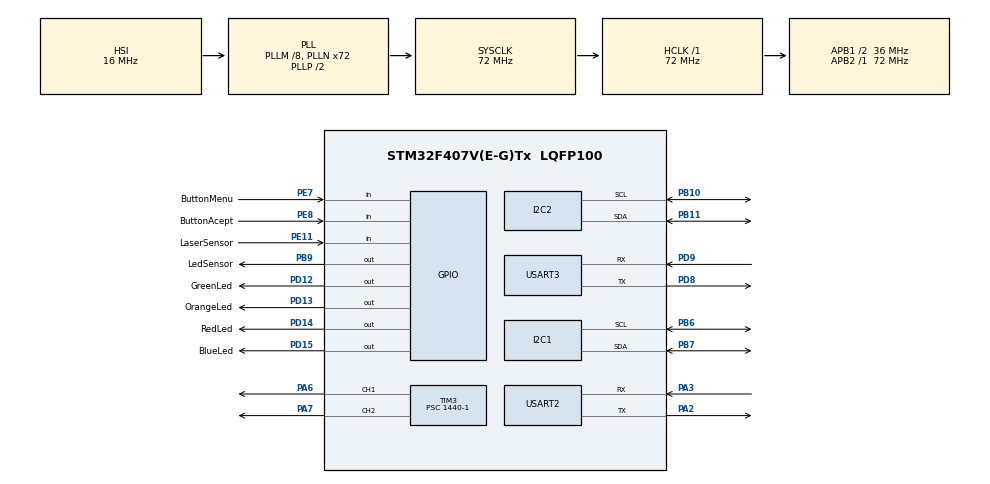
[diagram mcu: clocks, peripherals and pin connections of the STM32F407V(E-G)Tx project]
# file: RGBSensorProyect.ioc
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Mcu.Family=STM32F4
VP_TIM5_VS_ClockSourceINT.Mode=Internal
PD12.GPIO_Label=GreenLed
PE7.GPIO_PuPd=GPIO_PULLUP
Dma.USART3_RX.0.PeriphInc=DMA_PINC_DISABLE
RCC.CortexFreq_Value=72000000
PB10.Mode=I2C
PE11.GPIO_Label=LaserSensor
PE8.GPIO_PuPd=GPIO_PULLUP
PB11.Signal=I2C2_SDA
PD9.Mode=Asynchronous
RCC.SYSCLKSource=RCC_SYSCLKSOURCE_PLLCLK
ProjectManager.StackSize=0x400
PD13.Signal=GPIO_Output
PE11.GPIO_PuPd=GPIO_NOPULL
RCC.HCLKFreq_Value=72000000
RCC.APB2TimFreq_Value=72000000
TIM3.Period=1000-1
PB6.Signal=I2C1_SCL
PB6.Mode=I2C
PD8.Signal=USART3_TX
RCC.AHBFreq_Value=72000000
TIM3.Channel-PWM\ Generation1\ CH1=TIM_CHANNEL_1
RCC.HSE_VALUE=8000000
Dma.USART3_RX.0.MemDataAlignment=DMA_MDATAALIGN_BYTE
TIM3.Prescaler=1440-1
Dma.USART3_RX.0.PeriphDataAlignment=DMA_PDATAALIGN_BYTE
PB7.Signal=I2C1_SDA
Dma.USART3_RX.0.FIFOMode=DMA_FIFOMODE_DISABLE
SH.S_TIM3_CH1.0=TIM3_CH1,PWM Generation1 CH1
PD13.GPIO_Label=OrangeLed
Dma.USART3_RX.0.Direction=DMA_PERIPH_TO_MEMORY
PB9.Signal=GPIO_Output
Mcu.Package=LQFP100
PA6.Signal=S_TIM3_CH1
USART2.VirtualMode=VM_ASYNC
PD12.Signal=GPIO_Output
Dma.USART3_RX.0.MemInc=DMA_MINC_ENABLE
RCC.APB1TimFreq_Value=72000000
PE7.Signal=GPIO_Input
Dma.Request0=USART3_RX
I2C2.I2C_Mode=I2C_Standard
PD15.Signal=GPIO_Output
PA3.Signal=USART2_RX
Dma.USART3_RX.0.Instance=DMA1_Stream1
PD15.GPIO_Label=BlueLed
PB9.GPIO_Label=LedSensor
PD9.Signal=USART3_RX
NVIC.DMA1_Stream1_IRQn=true\:0\:0\:false\:false\:true\:false\:true
RCC.APB1CLKDivider=RCC_HCLK_DIV2
Dma.USART3_RX.0.Mode=DMA_NORMAL
PA3.Mode=Asynchronous
PB11.Mode=I2C
ProjectManager.TargetToolchain=MDK-ARM V5.27
I2C1.I2C_Mode=I2C_Fast
PE8.GPIO_Label=ButtonAcept
PE11.Signal=GPIO_Input
RCC.LSE_VALUE=32768
PD8.Mode=Asynchronous
PB10.Signal=I2C2_SCL
SH.S_TIM3_CH2.0=TIM3_CH2,PWM Generation2 CH2
board=STM32F407G-DISC1
RCC.VCOOutputFreq_Value=144000000
NVIC.TIM3_IRQn=true\:0\:0\:false\:false\:true\:true\:true
RCC.APB2Freq_Value=72000000
PE8.Signal=GPIO_Input
PD14.GPIO_Label=RedLed
Mcu.Name=STM32F407V(E-G)Tx
PE7.GPIO_Label=ButtonMenu
PA2.Signal=USART2_TX
PD14.Signal=GPIO_Output
RCC.48MHZClocksFreq_Value=20571428.57142857
RCC.SYSCLKFreq_VALUE=72000000
Dma.USART3_RX.0.Priority=DMA_PRIORITY_LOW
TIM5.Prescaler=72-1
USART3.VirtualMode=VM_ASYNC
PB9.PinState=GPIO_PIN_RESET
PB7.Mode=I2C
ProjectManager.HeapSize=0x200
RCC.HSI_VALUE=16000000
RCC.PLLQ=7
NVIC.PriorityGroup=NVIC_PRIORITYGROUP_0
TIM3.Channel-PWM\ Generation2\ CH2=TIM_CHANNEL_2
RCC.PLLM=8
RCC.PLLN=72
PA2.Mode=Asynchronous
TIM5.Period=0xFFFF-1
RCC.APB1Freq_Value=36000000
PA7.Signal=S_TIM3_CH2

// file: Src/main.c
/* USER CODE BEGIN Header */
/**
  ******************************************************************************
  * @file           : main.c
  * @brief          : Main program body
	* @author         : Sergio Bou Grau
  * @date           : 11/05/2020
  ******************************************************************************
  * @attention
  *
  * <h2><center>&copy; Copyright (c) 2020 STMicroelectronics.
  * All rights reserved.</center></h2>
  *
  * This software component is licensed by ST under BSD 3-Clause license,
  * the "License"; You may not use this file except in compliance with the
  * License. You may obtain a copy of the License at:
  *                        opensource.org/licenses/BSD-3-Clause
  *
  ******************************************************************************
  */
/* USER CODE END Header */

#include "main.h"

/* USER CODE BEGIN Includes */
/*
 Periferics used and aplication:
	- TIM3_CH1 -> for servo of colour sensor
	- TIM3_CH2 -> for servo of ramp
  - USART2   -> for FTDI232
  - USART3	 -> for ESP8266
	- TIM3     -> for servo of sensor (PWM CH1)
	           -> for servo of ramp   (PWM CH2)
	- TIM5     -> for timers
  - I2C1     -> for oled 128x64
  - I2C2     -> for TCS34725
*/

#include <string.h>
#include <stdio.h>
#include "tcs34725.h"
#include "sendwifi.h"

/* USER CODE END Includes */

I2C_HandleTypeDef hi2c1;
I2C_HandleTypeDef hi2c2;

TIM_HandleTypeDef htim3;
TIM_HandleTypeDef htim5;

UART_HandleTypeDef huart2;
UART_HandleTypeDef huart3;
DMA_HandleTypeDef hdma_usart3_rx;

/* USER CODE BEGIN PV */
extern uint32_t ColorsThreshold[];
extern uint8_t rxData[LONGDATA];		//For wifi conection
/* USER CODE END PV */

void SystemClock_Config(void);
static void MX_GPIO_Init(void);
static void MX_DMA_Init(void);
static void MX_TIM3_Init(void);
static void MX_I2C1_Init(void);
static void MX_TIM5_Init(void);
static void MX_I2C2_Init(void);
static void MX_USART2_UART_Init(void);
static void MX_USART3_UART_Init(void);

int main(void)
{

  /* MCU Configuration--------------------------------------------------------*/

  /* Reset of all peripherals, Initializes the Flash interface and the Systick. */
  HAL_Init();

  /* Configure the system clock */
  SystemClock_Config();

  /* Initialize all configured peripherals */
  MX_GPIO_Init();
  MX_DMA_Init();
  MX_TIM3_Init();
  MX_I2C1_Init();
  MX_TIM5_Init();
  MX_I2C2_Init();
  MX_USART2_UART_Init();
  MX_USART3_UART_Init();
  /* USER CODE BEGIN 2 */

	HAL_TIM_PWM_Start(&htim3, TIM_CHANNEL_1);	  //Start the PWM for servo of sensor
	HAL_TIM_PWM_Start(&htim3, TIM_CHANNEL_2);   //Start the PWM for servo of ramp

	Init_cts34725();		                        // Config sensor color CTS34725

	PositionServoSensor(POSUNO);	              // Put servo of sensor at init
	PositionServoRamp(SRINICIO);                // Put servo of ramp at init

	MY_FLASH_SetSectorAddrs(11, 0x080E0000);		//Define sector of memory flash
	MY_FLASH_ReadN(0, ColorsThreshold, 4, DATA_TYPE_32); //Read memory flash

	SSD1306_Init ();                            // initialize the diaplay oled
	TestLines(SSD1306_COLOR_WHITE);
	SSD1306_Clear();
	SSD1306_GotoXY (5, 5);
	SSD1306_Puts ("PUSH BUTTON", &Font_11x18, 1);
	SSD1306_GotoXY (40, 25);
	SSD1306_Puts ("MENU", &Font_11x18, 1);
	SSD1306_GotoXY (15, 44);
	SSD1306_Puts ("FOR START", &Font_11x18, 1);
	SSD1306_UpdateScreen();

	HAL_UART_Receive_DMA(&huart3, (uint8_t *)rxData, LONGDATA);	//For wifi conection
	InitESP();

	resetvar();                                 //Reset variables

  /* USER CODE END 2 */

  /* Infinite loop */
  while (1)
  {

    /* USER CODE BEGIN 3 */
		ButtonAceptPressed();
		ButtonMenuPressed();
  }
  /* USER CODE END 3 */
}

void SystemClock_Config(void)
{
  RCC_OscInitTypeDef RCC_OscInitStruct = {0};
  RCC_ClkInitTypeDef RCC_ClkInitStruct = {0};

  /** Configure the main internal regulator output voltage
  */
  __HAL_RCC_PWR_CLK_ENABLE();
  __HAL_PWR_VOLTAGESCALING_CONFIG(PWR_REGULATOR_VOLTAGE_SCALE1);
  /** Initializes the CPU, AHB and APB busses clocks
  */
  RCC_OscInitStruct.OscillatorType = RCC_OSCILLATORTYPE_HSI;
  RCC_OscInitStruct.HSIState = RCC_HSI_ON;
  RCC_OscInitStruct.HSICalibrationValue = RCC_HSICALIBRATION_DEFAULT;
  RCC_OscInitStruct.PLL.PLLState = RCC_PLL_ON;
  RCC_OscInitStruct.PLL.PLLSource = RCC_PLLSOURCE_HSI;
  RCC_OscInitStruct.PLL.PLLM = 8;
  RCC_OscInitStruct.PLL.PLLN = 72;
  RCC_OscInitStruct.PLL.PLLP = RCC_PLLP_DIV2;
  RCC_OscInitStruct.PLL.PLLQ = 7;
  if (HAL_RCC_OscConfig(&RCC_OscInitStruct) != HAL_OK)
  {
    Error_Handler();
  }
  /** Initializes the CPU, AHB and APB busses clocks
  */
  RCC_ClkInitStruct.ClockType = RCC_CLOCKTYPE_HCLK|RCC_CLOCKTYPE_SYSCLK
                              |RCC_CLOCKTYPE_PCLK1|RCC_CLOCKTYPE_PCLK2;
  RCC_ClkInitStruct.SYSCLKSource = RCC_SYSCLKSOURCE_PLLCLK;
  RCC_ClkInitStruct.AHBCLKDivider = RCC_SYSCLK_DIV1;
  RCC_ClkInitStruct.APB1CLKDivider = RCC_HCLK_DIV2;
  RCC_ClkInitStruct.APB2CLKDivider = RCC_HCLK_DIV1;

  if (HAL_RCC_ClockConfig(&RCC_ClkInitStruct, FLASH_LATENCY_2) != HAL_OK)
  {
    Error_Handler();
  }
}

static void MX_I2C1_Init(void)
{

  hi2c1.Instance = I2C1;
  hi2c1.Init.ClockSpeed = 400000;
  hi2c1.Init.DutyCycle = I2C_DUTYCYCLE_2;
  hi2c1.Init.OwnAddress1 = 0;
  hi2c1.Init.AddressingMode = I2C_ADDRESSINGMODE_7BIT;
  hi2c1.Init.DualAddressMode = I2C_DUALADDRESS_DISABLE;
  hi2c1.Init.OwnAddress2 = 0;
  hi2c1.Init.GeneralCallMode = I2C_GENERALCALL_DISABLE;
  hi2c1.Init.NoStretchMode = I2C_NOSTRETCH_DISABLE;
  if (HAL_I2C_Init(&hi2c1) != HAL_OK)
  {
    Error_Handler();
  }

}

static void MX_I2C2_Init(void)
{

  hi2c2.Instance = I2C2;
  hi2c2.Init.ClockSpeed = 100000;
  hi2c2.Init.DutyCycle = I2C_DUTYCYCLE_2;
  hi2c2.Init.OwnAddress1 = 0;
  hi2c2.Init.AddressingMode = I2C_ADDRESSINGMODE_7BIT;
  hi2c2.Init.DualAddressMode = I2C_DUALADDRESS_DISABLE;
  hi2c2.Init.OwnAddress2 = 0;
  hi2c2.Init.GeneralCallMode = I2C_GENERALCALL_DISABLE;
  hi2c2.Init.NoStretchMode = I2C_NOSTRETCH_DISABLE;
  if (HAL_I2C_Init(&hi2c2) != HAL_OK)
  {
    Error_Handler();
  }

}

static void MX_TIM3_Init(void)
{

  TIM_MasterConfigTypeDef sMasterConfig = {0};
  TIM_OC_InitTypeDef sConfigOC = {0};

  htim3.Instance = TIM3;
  htim3.Init.Prescaler = 1440-1;
  htim3.Init.CounterMode = TIM_COUNTERMODE_UP;
  htim3.Init.Period = 1000-1;
  htim3.Init.ClockDivision = TIM_CLOCKDIVISION_DIV1;
  htim3.Init.AutoReloadPreload = TIM_AUTORELOAD_PRELOAD_DISABLE;
  if (HAL_TIM_PWM_Init(&htim3) != HAL_OK)
  {
    Error_Handler();
  }
  sMasterConfig.MasterOutputTrigger = TIM_TRGO_RESET;
  sMasterConfig.MasterSlaveMode = TIM_MASTERSLAVEMODE_DISABLE;
  if (HAL_TIMEx_MasterConfigSynchronization(&htim3, &sMasterConfig) != HAL_OK)
  {
    Error_Handler();
  }
  sConfigOC.OCMode = TIM_OCMODE_PWM1;
  sConfigOC.Pulse = 0;
  sConfigOC.OCPolarity = TIM_OCPOLARITY_HIGH;
  sConfigOC.OCFastMode = TIM_OCFAST_DISABLE;
  if (HAL_TIM_PWM_ConfigChannel(&htim3, &sConfigOC, TIM_CHANNEL_1) != HAL_OK)
  {
    Error_Handler();
  }
  if (HAL_TIM_PWM_ConfigChannel(&htim3, &sConfigOC, TIM_CHANNEL_2) != HAL_OK)
  {
    Error_Handler();
  }
  HAL_TIM_MspPostInit(&htim3);

}

static void MX_TIM5_Init(void)
{

  TIM_ClockConfigTypeDef sClockSourceConfig = {0};
  TIM_MasterConfigTypeDef sMasterConfig = {0};

  htim5.Instance = TIM5;
  htim5.Init.Prescaler = 72-1;
  htim5.Init.CounterMode = TIM_COUNTERMODE_UP;
  htim5.Init.Period = 0xFFFF-1;
  htim5.Init.ClockDivision = TIM_CLOCKDIVISION_DIV1;
  htim5.Init.AutoReloadPreload = TIM_AUTORELOAD_PRELOAD_DISABLE;
  if (HAL_TIM_Base_Init(&htim5) != HAL_OK)
  {
    Error_Handler();
  }
  sClockSourceConfig.ClockSource = TIM_CLOCKSOURCE_INTERNAL;
  if (HAL_TIM_ConfigClockSource(&htim5, &sClockSourceConfig) != HAL_OK)
  {
    Error_Handler();
  }
  sMasterConfig.MasterOutputTrigger = TIM_TRGO_RESET;
  sMasterConfig.MasterSlaveMode = TIM_MASTERSLAVEMODE_DISABLE;
  if (HAL_TIMEx_MasterConfigSynchronization(&htim5, &sMasterConfig) != HAL_OK)
  {
    Error_Handler();
  }

}

static void MX_USART2_UART_Init(void)
{

  huart2.Instance = USART2;
  huart2.Init.BaudRate = 115200;
  huart2.Init.WordLength = UART_WORDLENGTH_8B;
  huart2.Init.StopBits = UART_STOPBITS_1;
  huart2.Init.Parity = UART_PARITY_NONE;
  huart2.Init.Mode = UART_MODE_TX_RX;
  huart2.Init.HwFlowCtl = UART_HWCONTROL_NONE;
  huart2.Init.OverSampling = UART_OVERSAMPLING_16;
  if (HAL_UART_Init(&huart2) != HAL_OK)
  {
    Error_Handler();
  }

}

static void MX_USART3_UART_Init(void)
{

  huart3.Instance = USART3;
  huart3.Init.BaudRate = 115200;
  huart3.Init.WordLength = UART_WORDLENGTH_8B;
  huart3.Init.StopBits = UART_STOPBITS_1;
  huart3.Init.Parity = UART_PARITY_NONE;
  huart3.Init.Mode = UART_MODE_TX_RX;
  huart3.Init.HwFlowCtl = UART_HWCONTROL_NONE;
  huart3.Init.OverSampling = UART_OVERSAMPLING_16;
  if (HAL_UART_Init(&huart3) != HAL_OK)
  {
    Error_Handler();
  }

}

static void MX_DMA_Init(void)
{

  /* DMA controller clock enable */
  __HAL_RCC_DMA1_CLK_ENABLE();

  /* DMA interrupt init */
  /* DMA1_Stream1_IRQn interrupt configuration */
  HAL_NVIC_SetPriority(DMA1_Stream1_IRQn, 0, 0);
  HAL_NVIC_EnableIRQ(DMA1_Stream1_IRQn);

}

static void MX_GPIO_Init(void)
{
  GPIO_InitTypeDef GPIO_InitStruct = {0};

  /* GPIO Ports Clock Enable */
  __HAL_RCC_GPIOA_CLK_ENABLE();
  __HAL_RCC_GPIOE_CLK_ENABLE();
  __HAL_RCC_GPIOB_CLK_ENABLE();
  __HAL_RCC_GPIOD_CLK_ENABLE();

  /*Configure GPIO pin Output Level */
  HAL_GPIO_WritePin(GPIOD, GreenLed_Pin|OrangeLed_Pin|RedLed_Pin|BlueLed_Pin, GPIO_PIN_RESET);

  /*Configure GPIO pin Output Level */
  HAL_GPIO_WritePin(LedSensor_GPIO_Port, LedSensor_Pin, GPIO_PIN_RESET);

  /*Configure GPIO pins : ButtonMenu_Pin ButtonAcept_Pin */
  GPIO_InitStruct.Pin = ButtonMenu_Pin|ButtonAcept_Pin;
  GPIO_InitStruct.Mode = GPIO_MODE_INPUT;
  GPIO_InitStruct.Pull = GPIO_PULLUP;
  HAL_GPIO_Init(GPIOE, &GPIO_InitStruct);

  /*Configure GPIO pin : LaserSensor_Pin */
  GPIO_InitStruct.Pin = LaserSensor_Pin;
  GPIO_InitStruct.Mode = GPIO_MODE_INPUT;
  GPIO_InitStruct.Pull = GPIO_NOPULL;
  HAL_GPIO_Init(LaserSensor_GPIO_Port, &GPIO_InitStruct);

  /*Configure GPIO pins : GreenLed_Pin OrangeLed_Pin RedLed_Pin BlueLed_Pin */
  GPIO_InitStruct.Pin = GreenLed_Pin|OrangeLed_Pin|RedLed_Pin|BlueLed_Pin;
  GPIO_InitStruct.Mode = GPIO_MODE_OUTPUT_PP;
  GPIO_InitStruct.Pull = GPIO_NOPULL;
  GPIO_InitStruct.Speed = GPIO_SPEED_FREQ_LOW;
  HAL_GPIO_Init(GPIOD, &GPIO_InitStruct);

  /*Configure GPIO pin : LedSensor_Pin */
  GPIO_InitStruct.Pin = LedSensor_Pin;
  GPIO_InitStruct.Mode = GPIO_MODE_OUTPUT_PP;
  GPIO_InitStruct.Pull = GPIO_NOPULL;
  GPIO_InitStruct.Speed = GPIO_SPEED_FREQ_LOW;
  HAL_GPIO_Init(LedSensor_GPIO_Port, &GPIO_InitStruct);

}

void Error_Handler(void)
{
}

/************************ (C) COPYRIGHT STMicroelectronics *****END OF FILE****/
